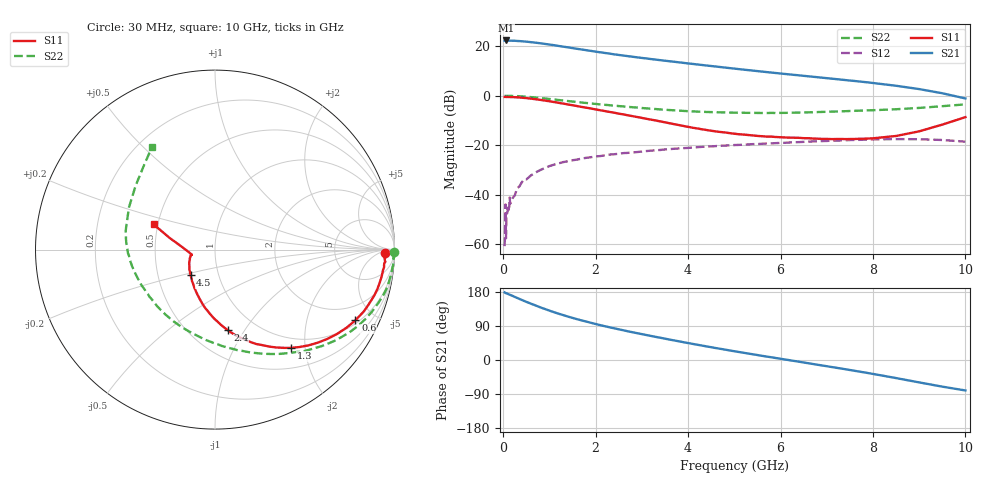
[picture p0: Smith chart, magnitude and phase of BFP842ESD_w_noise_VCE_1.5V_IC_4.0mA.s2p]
! Infineon Technologies  Discrete & RF Semiconductors
! BFP842ESD
! VCE =  1.5 V,  IC =  4.0 mA
! Common Emitter S-Parameters:  May 2012
# GHz  S  MA  R  50
!  f  S11  S21  S12  S22
! GHz  MAG  ANG  MAG  ANG  MAG  ANG  MAG  ANG
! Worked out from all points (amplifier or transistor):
!   99 points, 30 MHz to 10 GHz, reference 50 ohm
!   highest |S21| = 22.4 dB at 60 MHz (marker M1)
!   |S21| within 3 dB of that: start of sweep to 1.466 GHz
!   unconditionally stable (mu >= 1): 3.613 GHz to end of sweep
!   at 350 MHz: K = 0.11, MSG = 29.4 dB, |S12| = -36.7 dB
!   at 3.5 GHz: K = 0.98, MSG = 18.0 dB, |S12| = -21.7 dB
!   at 10 GHz: K = 2.23, MAG = 2.5 dB, |S12| = -18.6 dB
!   lowest NFmin = 0.36 dB at 450 MHz
!   S11 on the Smith chart (normalised r, x): 30 MHz: 33, -14; 600 MHz: 1.15, -3.89; 1.3 GHz: 0.82, -1.74; 2.4 GHz: 0.75, -0.84; 4.5 GHz: 0.73, -0.21; 10 GHz: 0.47, +0.15
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0.03  0.9501 -1.2  13.09 178.3  0.0009 115.2  0.9987 -0.9
0.05  0.9495 -2.8  12.99 176.8  0.0063 30.6  0.9961 -2.1
0.06  0.945 -2.9  13.2 176.4  0.0013 104.4  1 -2.2
0.07  0.9471 -3.1  13.07 176.0  0.0041 70.2  0.9972 -2.6
0.11  0.9457 -5.3  13.17 173.8  0.0044 95.3  0.9974 -4.0
0.14  0.9448 -6.4  13.06 172.4  0.0087 71.3  0.9965 -5.2
0.35  0.9235 -16.1  12.83 161.3  0.0146 79.4  0.9799 -13.0
0.6  0.876 -26.7  12.19 148.6  0.0244 71.4  0.9402 -21.6
0.9  0.8003 -38.4  11.24 134.7  0.0344 63.0  0.8829 -31.1
1.1  0.7471 -45.5  10.58 126.1  0.0403 57.7  0.8425 -36.8
1.3  0.6938 -52.1  9.893 118.4  0.0454 53.5  0.8017 -42.1
1.7  0.5942 -63.6  8.644 104.4  0.0536 46.5  0.7293 -51.5
2.1  0.5087 -74.1  7.597 92.0  0.0601 41.0  0.6694 -60.3
2.4  0.4547 -81.0  6.914 83.7  0.0655 36.5  0.6317 -66.4
2.9  0.3713 -92.6  6.004 70.7  0.0725 31.2  0.5773 -76.9
3.4  0.3024 -104.4  5.265 58.7  0.08 26.5  0.5289 -88.0
3.9  0.2449 -117.4  4.644 47.0  0.087 21.1  0.4941 -100.0
4.5  0.1958 -134.0  4.008 33.7  0.0944 14.8  0.4674 -114.9
5.1  0.1664 -149.3  3.47 21.1  0.1013 7.8  0.4534 -129.1
6.7  0.136 -167.0  2.431 -10.5  0.119 -9.3  0.465 -164.4
8.5  0.1535 -176.9  1.596 -47.7  0.1328 -35.7  0.534 153.8
10  0.3692 157.7  0.883 -80.4  0.1176 -63.9  0.6712 121.5
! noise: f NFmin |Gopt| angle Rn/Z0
0.45  0.36  0.47  2  0.13
0.9  0.39  0.49  8  0.13
1.5  0.43  0.47  21  0.12
1.9  0.44  0.44  30  0.12
2.4  0.48  0.41  44  0.11
3.5  0.62  0.3  80  0.09
4  0.68  0.25  99  0.09
5  0.74  0.23  117  0.08
5.5  0.89  0.22  140  0.08
6  1.04  0.21  152  0.08
